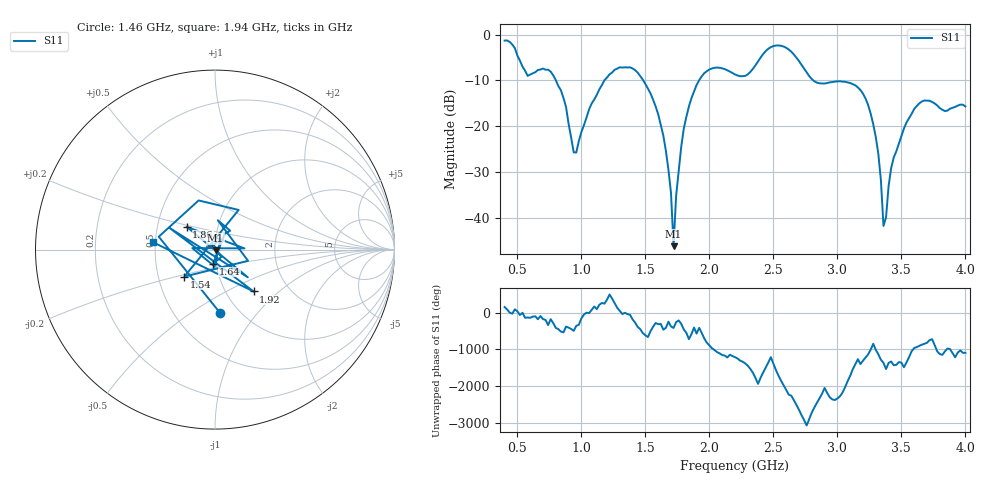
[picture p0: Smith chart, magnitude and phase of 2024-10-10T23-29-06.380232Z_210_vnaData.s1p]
! Created with skrf (http://scikit-rf.org).
# Hz S RI R 50.0
!freq ReS11 ImS11
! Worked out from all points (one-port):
!   181 points, 400 MHz to 4 GHz, reference 50 ohm
!   lowest |S11| = -46.2 dB at 1.72 GHz (marker M1), VSWR 1.01, Z = 50.3 - j0.386 ohm
!   |S11| at or under -10 dB: 800.9 MHz to 1.179 GHz (378.5 MHz wide, 38.2 % of centre); 1.483 GHz to 1.919 GHz (436.3 MHz wide, 25.6 % of centre); 2.812 GHz to end of sweep
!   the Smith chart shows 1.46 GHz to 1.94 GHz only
!   S11 on the Smith chart (normalised r, x): 1.46 GHz: 0.82, -0.66; 1.54 GHz: 0.68, -0.22; 1.64 GHz: 0.97, -0.15; 1.86 GHz: 0.71, +0.19; 1.92 GHz: 1.34, -0.70; 1.94 GHz: 0.48, +0.05
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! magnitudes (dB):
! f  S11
! 400 MHz  -1.3
! 580 MHz  -9.0
! 760 MHz  -8.1
! 860 MHz  -13.8
! 960 MHz  -25.7
! 1.08 GHz  -15.1
! 1.3 GHz  -7.1
! 1.46 GHz  -9.1
! 1.54 GHz  -12.9
! 1.64 GHz  -22.0
! 1.7 GHz  -34.5
! 1.72 GHz  -46.2
! 1.76 GHz  -29.9
! 1.86 GHz  -13.9
! 1.92 GHz  -10.0
! 1.94 GHz  -9.1
! 2.2 GHz  -8.7
! 2.5 GHz  -2.5
! 2.66 GHz  -4.4
! 2.84 GHz  -10.5
! 3.1 GHz  -10.6
! 3.28 GHz  -19.6
! 3.32 GHz  -26.1
! 3.36 GHz  -41.8
! 3.42 GHz  -29.1
! 3.56 GHz  -18.2
! 3.68 GHz  -14.4
! 4 GHz  -15.7
